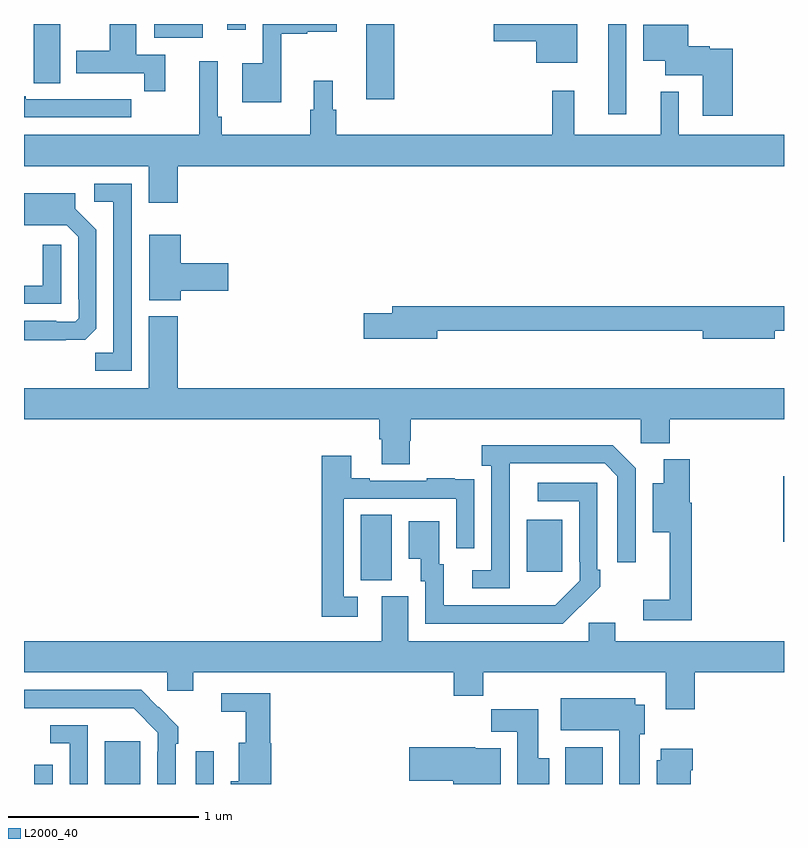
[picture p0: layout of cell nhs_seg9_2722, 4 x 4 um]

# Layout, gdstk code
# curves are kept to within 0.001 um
import gdstk
lib = gdstk.Library(unit=1e-6, precision=1e-09)
def R(c, l, rs):  # rectangles x0, y0, x1, y1
    for r in rs: c.add(gdstk.rectangle(r[:2], r[2:], *l))
def P(c, l, *ps):  # polygons
    for p in ps: c.add(gdstk.Polygon(p, *l))
L2000_40 = (2000, 40)

nhs_seg9_2722 = lib.new_cell('nhs_seg9_2722')
R(nhs_seg9_2722, L2000_40, [(267.054,1194.5,267.15,1194.601), (267.425,1194.5,267.613,1194.724), (267.903,1194.5,267.999,1194.673), (269.849,1194.5,270.046,1194.694), (268.772,1195.573,268.936,1195.916), (269.645,1195.617,269.833,1195.891), (270.995,1195.775,271,1196.119), (270.074,1198.026,270.171,1198.5), (268.802,1198.104,268.949,1198.5), (267.686,1198.427,267.94,1198.5), (268.07,1198.47,268.167,1198.5)])
P(nhs_seg9_2722, L2000_40, [(267.743,1198.338),(267.592,1198.338),(267.592,1198.5),(267.452,1198.5),(267.452,1198.359),(267.275,1198.359),(267.275,1198.242),(267.634,1198.242),(267.634,1198.146),(267.743,1198.146)],
  [(269.911,1198.5),(269.472,1198.5),(269.472,1198.409),(269.696,1198.409),(269.696,1198.295),(269.911,1198.295)],
  [(268.354,1198.448),(268.491,1198.448),(268.491,1198.46),(268.645,1198.46),(268.645,1198.5),(268.257,1198.5),(268.257,1198.294),(268.148,1198.294),(268.148,1198.088),(268.354,1198.088)],
  [(267.19,1198.5),(267.05,1198.5),(267.05,1198.297),(267.051,1198.297),(267.051,1198.189),(267.19,1198.189)],
  [(270.73,1198.369),(270.609,1198.369),(270.609,1198.382),(270.496,1198.382),(270.496,1198.495),(270.26,1198.495),(270.26,1198.307),(270.374,1198.307),(270.374,1198.229),(270.572,1198.229),(270.572,1198.017),(270.73,1198.017)],
  [(267.809,1197.752),(271,1197.752),(271,1197.916),(270.447,1197.916),(270.447,1198.144),(270.35,1198.144),(270.35,1197.916),(269.897,1197.916),(269.897,1198.15),(269.779,1198.15),(269.779,1197.916),(268.643,1197.916),(268.643,1198.05),(268.624,1198.05),(268.624,1198.201),(268.526,1198.201),(268.526,1198.05),(268.507,1198.05),(268.507,1197.916),(268.04,1197.916),(268.04,1198.012),(268.02,1198.012),(268.02,1198.303),(267.923,1198.303),(267.923,1197.916),(267,1197.916),(267,1197.752),(267.656,1197.752),(267.656,1197.558),(267.809,1197.558)],
  [(267.565,1198.104),(267.452,1198.104),(267.452,1198.105),(267.286,1198.105),(267.286,1198.104),(267.01,1198.104),(267.01,1198.119),(267,1198.119),(267,1198.008),(267.565,1198.008)],
  [(267.567,1197.66),(267.369,1197.66),(267.369,1197.564),(267.471,1197.564),(267.471,1196.771),(267.376,1196.771),(267.376,1196.676),(267.567,1196.676)],
  [(267.221,1196.837),(267.322,1196.837),(267.381,1196.896),(267.381,1197.418),(267.271,1197.528),(267.271,1197.61),(267,1197.61),(267,1197.44),(267.225,1197.441),(267.285,1197.381),(267.285,1197.052),(267.288,1197.052),(267.288,1196.952),(267.27,1196.934),(267.17,1196.934),(267.17,1196.937),(267,1196.937),(267,1196.836)],
  [(267.826,1197.095),(268.075,1197.095),(268.075,1197.242),(267.826,1197.242),(267.826,1197.391),(267.659,1197.391),(267.659,1197.047),(267.826,1197.047)],
  [(267.195,1197.337),(267.099,1197.337),(267.099,1197.123),(267,1197.123),(267,1197.027),(267.195,1197.027)],
  [(269.176,1196.886),(270.572,1196.886),(270.572,1196.843),(270.952,1196.843),(270.952,1196.886),(271,1196.886),(271,1197.014),(268.937,1197.014),(268.937,1196.978),(268.788,1196.978),(268.788,1196.843),(269.176,1196.843)],
  [(269.031,1196.307),(269.036,1196.307),(269.036,1196.42),(270.246,1196.42),(270.246,1196.294),(270.398,1196.294),(270.398,1196.42),(271,1196.42),(271,1196.584),(267.809,1196.584),(267.809,1196.962),(267.656,1196.962),(267.656,1196.584),(267,1196.584),(267,1196.42),(268.871,1196.42),(268.871,1196.314),(268.883,1196.314),(268.883,1196.182),(269.031,1196.182)],
  [(269.556,1195.987),(269.557,1196.187),(270.057,1196.187),(270.123,1196.121),(270.123,1195.668),(270.219,1195.668),(270.219,1196.163),(270.098,1196.284),(269.409,1196.284),(269.409,1196.174),(269.46,1196.174),(269.46,1195.626),(269.358,1195.626),(269.358,1195.53),(269.556,1195.53)],
  [(268.756,1195.485),(268.683,1195.485),(268.683,1196.001),(269.274,1196.001),(269.274,1195.74),(269.37,1195.74),(269.37,1195.994),(269.369,1195.994),(269.369,1196.103),(269.267,1196.103),(269.267,1196.11),(269.119,1196.11),(269.119,1196.097),(268.819,1196.097),(268.819,1196.11),(268.723,1196.11),(268.723,1196.227),(268.567,1196.227),(268.567,1195.38),(268.756,1195.38)],
  [(270.515,1195.979),(270.503,1195.979),(270.503,1196.209),(270.368,1196.209),(270.368,1196.083),(270.308,1196.083),(270.308,1195.826),(270.398,1195.826),(270.398,1195.471),(270.258,1195.471),(270.258,1195.362),(270.515,1195.362)],
  [(269.927,1195.435),(269.928,1195.434),(270.033,1195.539),(270.033,1195.627),(270.018,1195.627),(270.018,1196.085),(269.703,1196.085),(269.703,1195.989),(269.922,1195.989),(269.922,1195.669),(269.925,1195.669),(269.925,1195.569),(269.797,1195.441),(269.209,1195.44),(269.209,1195.656),(269.185,1195.656),(269.185,1195.882),(269.024,1195.882),(269.024,1195.685),(269.087,1195.685),(269.087,1195.566),(269.112,1195.566),(269.112,1195.344),(269.836,1195.344)],
  [(270.53,1195.088),(271,1195.088),(271,1195.252),(270.112,1195.252),(270.112,1195.35),(269.973,1195.35),(269.973,1195.252),(269.023,1195.252),(269.023,1195.488),(268.883,1195.488),(268.883,1195.252),(267,1195.252),(267,1195.088),(267.753,1195.088),(267.753,1194.99),(267.892,1194.99),(267.892,1195.088),(269.261,1195.088),(269.261,1194.964),(269.417,1194.964),(269.417,1195.088),(270.377,1195.088),(270.377,1194.894),(270.53,1194.894)],
  [(267.798,1194.713),(267.813,1194.713),(267.813,1194.801),(267.616,1194.996),(267,1194.996),(267,1194.9),(267.577,1194.9),(267.705,1194.771),(267.705,1194.671),(267.702,1194.671),(267.702,1194.5),(267.798,1194.5)],
  [(268.301,1194.714),(268.295,1194.714),(268.295,1194.978),(268.038,1194.978),(268.038,1194.881),(268.167,1194.881),(268.167,1194.718),(268.13,1194.718),(268.13,1194.514),(268.088,1194.514),(268.088,1194.5),(268.301,1194.5)],
  [(270.241,1194.762),(270.268,1194.762),(270.268,1194.916),(270.217,1194.916),(270.217,1194.952),(269.825,1194.952),(269.825,1194.782),(270.134,1194.782),(270.134,1194.5),(270.241,1194.5)],
  [(269.764,1194.636),(269.707,1194.636),(269.707,1194.894),(269.458,1194.894),(269.458,1194.776),(269.597,1194.776),(269.597,1194.5),(269.764,1194.5)],
  [(267.336,1194.81),(267.138,1194.81),(267.138,1194.714),(267.24,1194.714),(267.24,1194.5),(267.336,1194.5)],
  [(269.509,1194.688),(269.376,1194.688),(269.376,1194.694),(269.028,1194.694),(269.028,1194.518),(269.258,1194.518),(269.258,1194.5),(269.509,1194.5)],
  [(270.508,1194.572),(270.521,1194.572),(270.521,1194.685),(270.35,1194.685),(270.35,1194.624),(270.329,1194.624),(270.329,1194.5),(270.508,1194.5)])

lib.write_gds('nhs_seg9_2722.gds')
